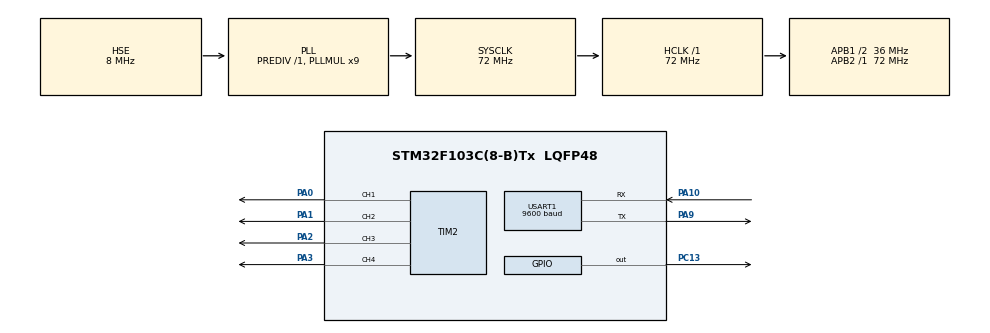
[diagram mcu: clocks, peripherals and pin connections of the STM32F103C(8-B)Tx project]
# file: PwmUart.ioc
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FREERTOS.Queues01=myQueue01,16,uint16_t,NULL,Dynamic,NULL,NULL
FREERTOS.Tasks01=PwmTask,0,128,StartDefaultTask,Default,NULL,Dynamic,NULL,NULL;UartTask,-3,128,StartTask02,Default,NULL,Dynamic,NULL,NULL
Mcu.Family=STM32F1
Mcu.Name=STM32F103C(8-B)Tx
Mcu.Package=LQFP48
NVIC.PriorityGroup=NVIC_PRIORITYGROUP_4
NVIC.TIM1_UP_IRQn=true\:0\:0\:false\:false\:true\:false\:false
NVIC.TimeBase=TIM1_UP_IRQn
NVIC.TimeBaseIP=TIM1
PA0-WKUP.Signal=S_TIM2_CH1_ETR
PA1.Signal=S_TIM2_CH2
PA10.Mode=Asynchronous
PA10.Signal=USART1_RX
PA13.Mode=Serial_Wire
PA13.Signal=SYS_JTMS-SWDIO
PA14.Mode=Serial_Wire
PA14.Signal=SYS_JTCK-SWCLK
PA2.Signal=S_TIM2_CH3
PA3.Signal=S_TIM2_CH4
PA9.Mode=Asynchronous
PA9.Signal=USART1_TX
PC13-TAMPER-RTC.Signal=GPIO_Output
PD0-OSC_IN.Mode=HSE-External-Oscillator
PD0-OSC_IN.Signal=RCC_OSC_IN
PD1-OSC_OUT.Mode=HSE-External-Oscillator
PD1-OSC_OUT.Signal=RCC_OSC_OUT
ProjectManager.HeapSize=0x200
ProjectManager.StackSize=0x400
ProjectManager.TargetToolchain=TrueSTUDIO
RCC.AHBFreq_Value=72000000
RCC.APB1CLKDivider=RCC_HCLK_DIV2
RCC.APB1Freq_Value=36000000
RCC.APB1TimFreq_Value=72000000
RCC.APB2Freq_Value=72000000
RCC.APB2TimFreq_Value=72000000
RCC.HCLKFreq_Value=72000000
RCC.PLLMUL=RCC_PLL_MUL9
RCC.PLLSourceVirtual=RCC_PLLSOURCE_HSE
RCC.SYSCLKFreq_VALUE=72000000
RCC.SYSCLKSource=RCC_SYSCLKSOURCE_PLLCLK
RCC.USBFreq_Value=72000000
SH.S_TIM2_CH1_ETR.0=TIM2_CH1,PWM Generation1 CH1
SH.S_TIM2_CH2.0=TIM2_CH2,PWM Generation2 CH2
SH.S_TIM2_CH3.0=TIM2_CH3,PWM Generation3 CH3
SH.S_TIM2_CH4.0=TIM2_CH4,PWM Generation4 CH4
TIM2.Channel-PWM\ Generation1\ CH1=TIM_CHANNEL_1
TIM2.Channel-PWM\ Generation2\ CH2=TIM_CHANNEL_2
TIM2.Channel-PWM\ Generation3\ CH3=TIM_CHANNEL_3
TIM2.Channel-PWM\ Generation4\ CH4=TIM_CHANNEL_4
USART1.BaudRate=9600
USART1.VirtualMode=VM_ASYNC
VP_FREERTOS_VS_ENABLE.Mode=Enabled
VP_SYS_VS_tim1.Mode=TIM1
board=PwmUart

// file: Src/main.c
/**
  ******************************************************************************
  * @file           : main.c
  * @brief          : Main program body
  ******************************************************************************
  * This notice applies to any and all portions of this file
  * that are not between comment pairs USER CODE BEGIN and
  * USER CODE END. Other portions of this file, whether
  * inserted by the user or by software development tools
  * are owned by their respective copyright owners.
  *
  * Copyright (c) 2018 STMicroelectronics International N.V.
  * All rights reserved.
  *
  * Redistribution and use in source and binary forms, with or without
  * modification, are permitted, provided that the following conditions are met:
  *
  * 1. Redistribution of source code must retain the above copyright notice,
  *    this list of conditions and the following disclaimer.
  * 2. Redistributions in binary form must reproduce the above copyright notice,
  *    this list of conditions and the following disclaimer in the documentation
  *    and/or other materials provided with the distribution.
  * 3. Neither the name of STMicroelectronics nor the names of other
  *    contributors to this software may be used to endorse or promote products
  *    derived from this software without specific written permission.
  * 4. This software, including modifications and/or derivative works of this
  *    software, must execute solely and exclusively on microcontroller or
  *    microprocessor devices manufactured by or for STMicroelectronics.
  * 5. Redistribution and use of this software other than as permitted under
  *    this license is void and will automatically terminate your rights under
  *    this license.
  *
  * THIS SOFTWARE IS PROVIDED BY STMICROELECTRONICS AND CONTRIBUTORS "AS IS"
  * AND ANY EXPRESS, IMPLIED OR STATUTORY WARRANTIES, INCLUDING, BUT NOT
  * LIMITED TO, THE IMPLIED WARRANTIES OF MERCHANTABILITY, FITNESS FOR A
  * PARTICULAR PURPOSE AND NON-INFRINGEMENT OF THIRD PARTY INTELLECTUAL PROPERTY
  * RIGHTS ARE DISCLAIMED TO THE FULLEST EXTENT PERMITTED BY LAW. IN NO EVENT
  * SHALL STMICROELECTRONICS OR CONTRIBUTORS BE LIABLE FOR ANY DIRECT, INDIRECT,
  * INCIDENTAL, SPECIAL, EXEMPLARY, OR CONSEQUENTIAL DAMAGES (INCLUDING, BUT NOT
  * LIMITED TO, PROCUREMENT OF SUBSTITUTE GOODS OR SERVICES; LOSS OF USE, DATA,
  * OR PROFITS; OR BUSINESS INTERRUPTION) HOWEVER CAUSED AND ON ANY THEORY OF
  * LIABILITY, WHETHER IN CONTRACT, STRICT LIABILITY, OR TORT (INCLUDING
  * NEGLIGENCE OR OTHERWISE) ARISING IN ANY WAY OUT OF THE USE OF THIS SOFTWARE,
  * EVEN IF ADVISED OF THE POSSIBILITY OF SUCH DAMAGE.
  *
  ******************************************************************************
  */
#include "main.h"
#include "stm32f1xx_hal.h"
#include "cmsis_os.h"

/* USER CODE BEGIN Includes */

#include "stdbool.h"
#include "string.h"

/* USER CODE END Includes */

TIM_HandleTypeDef htim2;

UART_HandleTypeDef huart1;

osThreadId PwmTaskHandle;
osThreadId UartTaskHandle;
osMessageQId myQueue01Handle;

/* USER CODE BEGIN PV */
/* Private variables ---------------------------------------------------------*/

bool bNewFrame;
uint8_t Frame[FrameSize];
uint8_t TestString[20];
uint16_t Tabelle[100] = {0,5,10,20,30,40,50,60,70,80,90,10,120,140,160,180,200,250,300,350,400,450,500,550,600,650,700,750,800,850,900,950,1000,1200,1300,1400,1500,1600,1700,1800,1900,2000,2200,2400,2600,2800,3000,3200,3400,3600,3800,4000,4200,4400,4600,4800,5000,5200,5400,5600,5800,6000,6200,6400,6600,6800,7000,7200,7400,7600,7800,8000,8200,8400,8600,8800,9000,9200,9400,9600,9800,10000,10200,10400,10600,10800,11000,11200,11400,11600,11800,12000,12200,12400,12600,12800,13000,13200,13400,13513};

uint32_t Weiss = 0,Rot = 0, Gruen = 0, Blau = 0;

/* USER CODE END PV */

void SystemClock_Config(void);
static void MX_GPIO_Init(void);
static void MX_TIM2_Init(void);
static void MX_USART1_UART_Init(void);
void Task_1(void const * argument);
void Task_2(void const * argument);
void HAL_TIM_MspPostInit(TIM_HandleTypeDef *htim);
void ProzessFrame(void);

/* USER CODE BEGIN PFP */
/* Private function prototypes -----------------------------------------------*/

/* USER CODE END PFP */

int main(void)
{

  /* MCU Configuration----------------------------------------------------------*/

  /* Reset of all peripherals, Initializes the Flash interface and the Systick. */
  HAL_Init();

  /* Configure the system clock */
  SystemClock_Config();

  /* Initialize all configured peripherals */
  MX_GPIO_Init();
  MX_TIM2_Init();
  MX_USART1_UART_Init();

  /* Create the thread(s) */
  /* definition and creation of PwmTask */
  osThreadDef(PwmTask, Task_1, osPriorityNormal, 0, 128);
  PwmTaskHandle = osThreadCreate(osThread(PwmTask), NULL);

  /* definition and creation of UartTask */
  osThreadDef(UartTask, Task_2, osPriorityIdle, 0, 128);
  UartTaskHandle = osThreadCreate(osThread(UartTask), NULL);

  /* Create the queue(s) */
  /* definition and creation of myQueue01 */
  osMessageQDef(myQueue01, 16, uint16_t);
  myQueue01Handle = osMessageCreate(osMessageQ(myQueue01), NULL);

  /* Start scheduler */
  osKernelStart();

  /* We should never get here as control is now taken by the scheduler */

  /* Infinite loop */
	while (1) {

	}

}

void SystemClock_Config(void)
{

  RCC_OscInitTypeDef RCC_OscInitStruct;
  RCC_ClkInitTypeDef RCC_ClkInitStruct;

    /**Initializes the CPU, AHB and APB busses clocks
    */
  RCC_OscInitStruct.OscillatorType = RCC_OSCILLATORTYPE_HSE;
  RCC_OscInitStruct.HSEState = RCC_HSE_ON;
  RCC_OscInitStruct.HSEPredivValue = RCC_HSE_PREDIV_DIV1;
  RCC_OscInitStruct.HSIState = RCC_HSI_ON;
  RCC_OscInitStruct.PLL.PLLState = RCC_PLL_ON;
  RCC_OscInitStruct.PLL.PLLSource = RCC_PLLSOURCE_HSE;
  RCC_OscInitStruct.PLL.PLLMUL = RCC_PLL_MUL9;
  if (HAL_RCC_OscConfig(&RCC_OscInitStruct) != HAL_OK)
  {
    _Error_Handler(__FILE__, __LINE__);
  }

    /**Initializes the CPU, AHB and APB busses clocks
    */
  RCC_ClkInitStruct.ClockType = RCC_CLOCKTYPE_HCLK|RCC_CLOCKTYPE_SYSCLK
                              |RCC_CLOCKTYPE_PCLK1|RCC_CLOCKTYPE_PCLK2;
  RCC_ClkInitStruct.SYSCLKSource = RCC_SYSCLKSOURCE_PLLCLK;
  RCC_ClkInitStruct.AHBCLKDivider = RCC_SYSCLK_DIV1;
  RCC_ClkInitStruct.APB1CLKDivider = RCC_HCLK_DIV2;
  RCC_ClkInitStruct.APB2CLKDivider = RCC_HCLK_DIV1;

  if (HAL_RCC_ClockConfig(&RCC_ClkInitStruct, FLASH_LATENCY_2) != HAL_OK)
  {
    _Error_Handler(__FILE__, __LINE__);
  }

    /**Configure the Systick interrupt time
    */
  HAL_SYSTICK_Config(HAL_RCC_GetHCLKFreq()/1000);

    /**Configure the Systick
    */
  HAL_SYSTICK_CLKSourceConfig(SYSTICK_CLKSOURCE_HCLK);

  /* SysTick_IRQn interrupt configuration */
  HAL_NVIC_SetPriority(SysTick_IRQn, 15, 0);
}

/* TIM2 init function */
static void MX_TIM2_Init(void)
{

  TIM_MasterConfigTypeDef sMasterConfig;
  TIM_OC_InitTypeDef sConfigOC;

  htim2.Instance = TIM2;
  htim2.Init.Prescaler = 15;
  htim2.Init.CounterMode = TIM_COUNTERMODE_UP;
  htim2.Init.Period = 13513;
  htim2.Init.ClockDivision = TIM_CLOCKDIVISION_DIV1;
  htim2.Init.AutoReloadPreload = TIM_AUTORELOAD_PRELOAD_DISABLE;
  if (HAL_TIM_PWM_Init(&htim2) != HAL_OK)
  {
    _Error_Handler(__FILE__, __LINE__);
  }

  sMasterConfig.MasterOutputTrigger = TIM_TRGO_RESET;
  sMasterConfig.MasterSlaveMode = TIM_MASTERSLAVEMODE_DISABLE;
  if (HAL_TIMEx_MasterConfigSynchronization(&htim2, &sMasterConfig) != HAL_OK)
  {
    _Error_Handler(__FILE__, __LINE__);
  }

  sConfigOC.OCMode = TIM_OCMODE_PWM1;
  sConfigOC.Pulse = 0;
  sConfigOC.OCPolarity = TIM_OCPOLARITY_HIGH;
  sConfigOC.OCFastMode = TIM_OCFAST_DISABLE;
  if (HAL_TIM_PWM_ConfigChannel(&htim2, &sConfigOC, TIM_CHANNEL_1) != HAL_OK)
  {
    _Error_Handler(__FILE__, __LINE__);
  }

  if (HAL_TIM_PWM_ConfigChannel(&htim2, &sConfigOC, TIM_CHANNEL_2) != HAL_OK)
  {
    _Error_Handler(__FILE__, __LINE__);
  }

  if (HAL_TIM_PWM_ConfigChannel(&htim2, &sConfigOC, TIM_CHANNEL_3) != HAL_OK)
  {
    _Error_Handler(__FILE__, __LINE__);
  }

  if (HAL_TIM_PWM_ConfigChannel(&htim2, &sConfigOC, TIM_CHANNEL_4) != HAL_OK)
  {
    _Error_Handler(__FILE__, __LINE__);
  }

  HAL_TIM_MspPostInit(&htim2);

}

/* USART1 init function */
static void MX_USART1_UART_Init(void)
{

  huart1.Instance = USART1;
  huart1.Init.BaudRate = 115200;
  huart1.Init.WordLength = UART_WORDLENGTH_8B;
  huart1.Init.StopBits = UART_STOPBITS_1;
  huart1.Init.Parity = UART_PARITY_NONE;
  huart1.Init.Mode = UART_MODE_TX_RX;
  huart1.Init.HwFlowCtl = UART_HWCONTROL_NONE;
  huart1.Init.OverSampling = UART_OVERSAMPLING_16;
  if (HAL_UART_Init(&huart1) != HAL_OK)
  {
    _Error_Handler(__FILE__, __LINE__);
  }

}

/** Configure pins as
        * Analog
        * Input
        * Output
        * EVENT_OUT
        * EXTI
*/
static void MX_GPIO_Init(void)
{

  GPIO_InitTypeDef GPIO_InitStruct;

  /* GPIO Ports Clock Enable */
  __HAL_RCC_GPIOC_CLK_ENABLE();
  __HAL_RCC_GPIOD_CLK_ENABLE();
  __HAL_RCC_GPIOA_CLK_ENABLE();

  /*Configure GPIO pin Output Level */
  HAL_GPIO_WritePin(GPIOC, GPIO_PIN_13, GPIO_PIN_RESET);

  /*Configure GPIO pin : PC13 */
  GPIO_InitStruct.Pin = GPIO_PIN_13;
  GPIO_InitStruct.Mode = GPIO_MODE_OUTPUT_PP;
  GPIO_InitStruct.Speed = GPIO_SPEED_FREQ_LOW;
  HAL_GPIO_Init(GPIOC, &GPIO_InitStruct);

}

/* USER CODE BEGIN 4 */

void Init(void) {
	uint8_t i;
	bNewFrame = false;

	for (i = 0; i < FrameSize; i++) {
		Frame[i] = 0;
		TestString[i] = 0;
	}

	htim2.Instance->CCR1 = 0;		// Weiß
	htim2.Instance->CCR2 = 0;		// Rot
	htim2.Instance->CCR3 = 0;	 	// Grün
	htim2.Instance->CCR4 = 0;	// Blau
}

bool CheckFrame(void) {
	if(Frame[0] == 48 && Frame[1] == 49 && Frame[2] == 50 && Frame[3] == 51 && Frame[4] == 52 && Frame[5] == 53 && Frame[6] == 54 && Frame[7] == 55 && Frame[8] == 56 && Frame[9] == 57)
	{
		ProzessFrame();
		return true;
	}
	return false;
}

void ProzessFrame(void) {

	HAL_GPIO_TogglePin(GPIOC, GPIO_PIN_13);

	// Weiß:
	if(Frame[10] > 99) {
		Frame[10] = 99;
	}
	Weiss = Tabelle[Frame[10]];
//	htim2.Instance->CCR1 = Tabelle[Frame[10]];

	// Rot:
	if(Frame[11] > 99) {
		Frame[11] = 99;
	}
	Rot = Tabelle[Frame[11]];
//	htim2.Instance->CCR2 = Tabelle[Frame[11]];

	// Grün:
	if(Frame[12] > 99) {
		Frame[12] = 99;
	}
	Gruen = Tabelle[Frame[12]];
//	htim2.Instance->CCR3 = Tabelle[Frame[12]];

	// Blau:
	if(Frame[13] > 99) {
		Frame[13] = 99;
	}
	Blau = Tabelle[Frame[13]];
//	htim2.Instance->CCR4 = Tabelle[Frame[13]];
}

/* USER CODE END 4 */

/* StartDefaultTask function */
void Task_1(void const * argument)
{

  /* USER CODE BEGIN 5 */

	uint32_t Delta = 0;

	/* Infinite loop */
	for (;;) {
		osDelay(1);

		if(htim2.Instance->CCR1 < Weiss)
		{
			Delta = Weiss - htim2.Instance->CCR1;

			if(Delta > 500)
			{
				htim2.Instance->CCR1 += Delta/100;
			}
			else
			{
				htim2.Instance->CCR1 ++;
			}

		}
		if(htim2.Instance->CCR1 > Weiss)
		{
			Delta = htim2.Instance->CCR1 - Weiss;

			if(Delta > 500)
			{
				htim2.Instance->CCR1 -= Delta/100;
			}
			else
			{
				htim2.Instance->CCR1 --;
			}
		}

		if(htim2.Instance->CCR2 < Rot)
		{
			Delta = Rot - htim2.Instance->CCR2;

			if(Delta > 500)
			{
				htim2.Instance->CCR2 += Delta/100;
			}
			else
			{
				htim2.Instance->CCR2 ++;
			}
		}
		if(htim2.Instance->CCR2 > Rot)
		{
			Delta = htim2.Instance->CCR2 - Rot;

			if(Delta > 500)
			{
				htim2.Instance->CCR2 -= Delta/100;
			}
			else
			{
				htim2.Instance->CCR2 --;
			}
		}

		if(htim2.Instance->CCR3 < Gruen)
		{
			Delta = Gruen - htim2.Instance->CCR3;

			if(Delta > 500)
			{
				htim2.Instance->CCR3 += Delta/100;
			}
			else
			{
				htim2.Instance->CCR3 ++;
			}
		}
		if(htim2.Instance->CCR3 > Gruen)
		{
			Delta = htim2.Instance->CCR3 - Gruen;

			if(Delta > 500)
			{
				htim2.Instance->CCR3 -= Delta/100;
			}
			else
			{
				htim2.Instance->CCR3 --;
			}
		}

		if(htim2.Instance->CCR4 < Blau)
		{
			Delta = Blau - htim2.Instance->CCR4;

			if(Delta > 500)
			{
				htim2.Instance->CCR4 += Delta/100;
			}
			else
			{
				htim2.Instance->CCR4 ++;
			}
		}
		if(htim2.Instance->CCR4 > Blau)
		{
			Delta = htim2.Instance->CCR4 - Blau;

			if(Delta > 500)
			{
				htim2.Instance->CCR4 -= Delta/100;
			}
			else
			{
				htim2.Instance->CCR4 --;
			}
		}

//		HAL_GPIO_TogglePin(GPIOC, GPIO_PIN_13);

	}
  /* USER CODE END 5 */
}

/* StartTask02 function */
void Task_2(void const * argument)
{
  /* USER CODE BEGIN StartTask02 */
	static uint8_t ucIndex = 0;
	static uint32_t uRxTimeOutValue = 0;
	uint8_t Value = 0;
	char Answer[10];

//	htim2.Init.Prescaler = 15;
//	htim2.Init.Period = 13513;

	HAL_TIM_PWM_Start(&htim2, TIM_CHANNEL_1);
	HAL_TIM_PWM_Start(&htim2, TIM_CHANNEL_2);
	HAL_TIM_PWM_Start(&htim2, TIM_CHANNEL_3);
	HAL_TIM_PWM_Start(&htim2, TIM_CHANNEL_4);

	Init();

	/* Infinite loop */
	for (;;) {

		if((huart1.Instance->SR & 0x20) == 0x20)
		{
			HAL_UART_Receive(&huart1, &Value, 1, 1);
			Frame[ucIndex] = Value;
			ucIndex++;
			uRxTimeOutValue = HAL_GetTick();
		}
//    osDelay(500);

		if (ucIndex == FrameSize) {
			ucIndex = 0;
			if(CheckFrame()) {
				strncpy(Answer, "OK\n\r", 4);
				HAL_UART_Transmit(&huart1, (uint8_t*)Answer, strlen(Answer), 10);
			}
			else {
				strncpy(Answer, "FAIL\n\r", 6);
				HAL_UART_Transmit(&huart1, (uint8_t*)Answer, strlen(Answer), 10);
			}
		}

		if ((HAL_GetTick() - uRxTimeOutValue) > RxTimeOut) {
			ucIndex = 0;
		}

	}
  /* USER CODE END StartTask02 */
}

void HAL_TIM_PeriodElapsedCallback(TIM_HandleTypeDef *htim)
{
  if (htim->Instance == TIM1) {
    HAL_IncTick();
  }
}

void _Error_Handler(char *file, int line)
{
	while (1) {
	}
}

/************************ (C) COPYRIGHT STMicroelectronics *****END OF FILE****/
